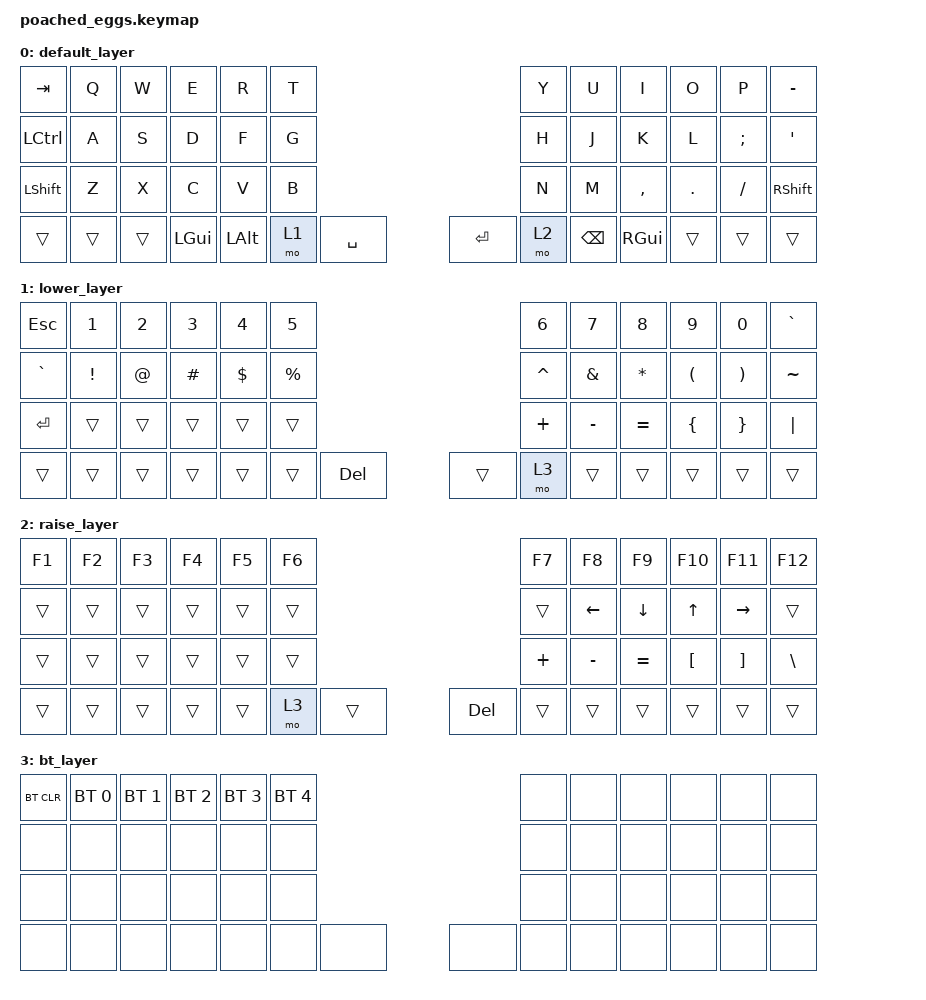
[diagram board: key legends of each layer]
#include <behaviors.dtsi>
#include <dt-bindings/zmk/keys.h>
#include <dt-bindings/zmk/bt.h>

/ {
    keymap {
        compatible = "zmk,keymap";

        default_layer {
            // ---------------------------------------------------------------------------------------------------------------
            // | TAB   | Q      | W      | E      | R      | T      | Y      |                 | U      | I      | O      | P      | -      |
            // | CTRL  | A      | S      | D      | F      | G      | H      |                 | J      | K      | L      | ;      | '      |
            // | SHIFT | Z      | X      | C      | V      | B      | N      |                 | M      | ,      | .      | /      | SHIFT  |
            // |       |        |        | GUI    | ALT    | LOWER  | SPACE  | ENTER  | RAISE  | BSPC   | GUI    |        |        | .      |

            bindings = <
                &kp TAB     &kp Q       &kp W       &kp E       &kp R       &kp T                                &kp Y       &kp U        &kp I       &kp O       &kp P        &kp MINUS
                &kp LCTRL   &kp A       &kp S       &kp D       &kp F       &kp G                                &kp H       &kp J        &kp K       &kp L       &kp SEMI     &kp SQT
                &kp LSHFT   &kp Z       &kp X       &kp C       &kp V       &kp B                                &kp N       &kp M        &kp COMMA   &kp DOT     &kp FSLH     &kp RSHFT
                &trans      &trans      &trans      &kp LGUI    &kp LALT    &mo 1       &kp SPACE    &kp RET     &mo 2       &kp BSPC     &kp RGUI    &trans      &trans       &trans
            >;
        };

        lower_layer {
            // ---------------------------------------------------------------------------------------------------------------
            // | ESC    | 1      | 2      | 3      | 4      | 5      |                 | 6      | 7      | 8      | 9      | 0      | `      |
            // | `      | !      | @      | #      | $      | %      |                 | ^      | &      | *      | (      | )      | ~      |
            // | ENTER  |        |        |        |        |        |                 | +      | _      | =      | {      | }      | "|"    |
            // |        |        |        |        |        |        | DEL    |        | BT     |        |        |        |        |        |

            bindings = <
                &kp ESC     &kp N1      &kp N2      &kp N3      &kp N4      &kp N5                              &kp N6      &kp N7      &kp N8      &kp N9      &kp N0      &kp GRAVE
                &kp GRAVE   &kp EXCL    &kp AT      &kp HASH    &kp DOLLAR  &kp PRCNT                           &kp CARET   &kp AMPS    &kp ASTRK   &kp LPAR    &kp RPAR    &kp TILDE
                &kp RET     &trans      &trans      &trans      &trans      &trans                              &kp PLUS    &kp MINUS   &kp EQUAL   &kp LBRC    &kp RBRC    &kp PIPE
                &trans      &trans      &trans      &trans      &trans      &trans      &kp DEL     &trans      &mo 3       &trans      &trans      &trans      &trans      &trans
            >;
        };

        raise_layer {
            // ---------------------------------------------------------------------------------------------------------------
            // | F1     | F2     | F3     | F4     | F5     | F6     |                 | F7     | F8     | F9     | F10    | F11    | F12    |
            // |        |        |        |        |        |        |                 |        | <-     | v      | ^      | ->     |        |
            // |        |        |        |        |        |        |                 | +      | -      | =      | [      | ]      | \      |
            // |        |        |        |        |        | BT     |        | DEL    |        |        |        |        |        |        |

            bindings = <
                &kp F1      &kp F2      &kp F3      &kp F4      &kp F5      &kp F6                              &kp F7      &kp F8      &kp F9      &kp F10     &kp F11     &kp F12
                &trans      &trans      &trans      &trans      &trans      &trans                              &trans      &kp LEFT    &kp DOWN    &kp UP      &kp RIGHT   &trans
                &trans      &trans      &trans      &trans      &trans      &trans                              &kp PLUS    &kp MINUS   &kp EQUAL   &kp LBKT    &kp RBKT    &kp BSLH
                &trans      &trans      &trans      &trans      &trans      &mo 3       &trans      &kp DEL     &trans      &trans      &trans      &trans      &trans      &trans
            >;
        };

        bt_layer {
            // ---------------------------------------------------------------------------------------------------------------
            // | BTCLR  | BT1    | BT2    | BT3    | BT4    | BT5    |                 |        |        |        |        |        |        |
            // |        |        |        |        |        |        |                 |        |        |        |        |        |        |
            // |        |        |        |        |        |        |                 |        |        |        |        |        |        |
            // |        |        |        |        |        |        |        |        |        |        |        |        |        |        |

            bindings = <
                &bt BT_CLR  &bt BT_SEL 0 &bt BT_SEL 1 &bt BT_SEL 2 &bt BT_SEL 3 &bt BT_SEL 4                         &none       &none       &none       &none       &none       &none
                &none       &none        &none        &none        &none        &none                                &none       &none       &none       &none       &none       &none
                &none       &none        &none        &none        &none        &none                                &none       &none       &none       &none       &none       &none
                &none       &none        &none        &none        &none        &none        &none       &none       &none       &none       &none       &none       &none       &none
            >;
        };
    };
};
